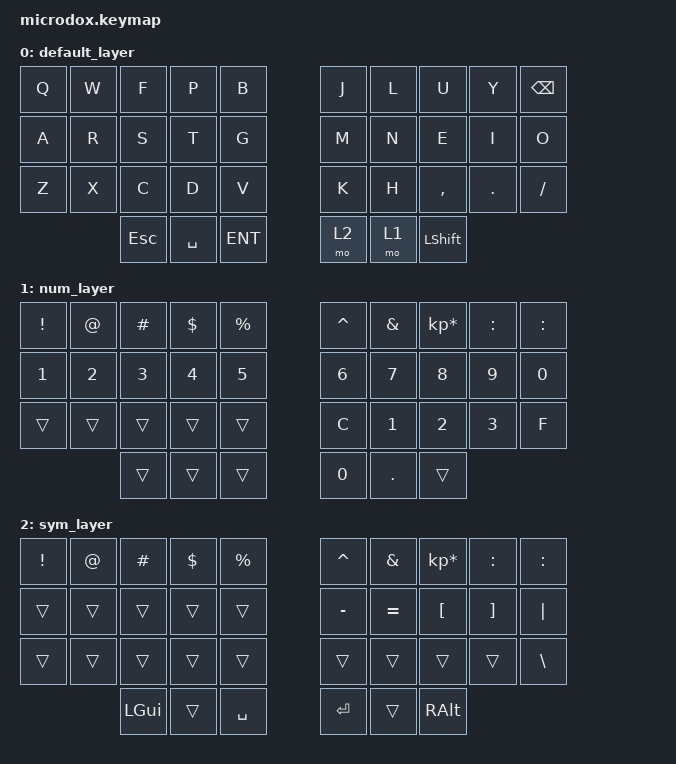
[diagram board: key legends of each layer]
/*
 * Copyright (c) 2020 The ZMK Contributors
 *
 * SPDX-License-Identifier: MIT
 */

#include <behaviors.dtsi>
#include <dt-bindings/zmk/keys.h>
#include <dt-bindings/zmk/bt.h>

/ {
        keymap {
                compatible = "zmk,keymap";

                default_layer {
                        bindings = <
   &kp Q &kp W &kp F &kp P &kp B   &kp J &kp L  &kp U     &kp Y   &kp BSPC
   &kp A &kp R &kp S &kp T &kp G   &kp M &kp N  &kp E     &kp I   &kp O
   &kp Z &kp X &kp C &kp D &kp V   &kp K &kp H  &kp COMMA &kp DOT &kp FSLH
          &kp ESC &kp SPACE &kp ENT &mo 2 &mo 1 &kp LSHFT
                        >;
                };


                num_layer {
                        bindings = <
   &kp EXCL  &kp AT    &kp HASH  &kp DLLR  &kp PRCNT   &kp CARET &kp AMPS  &kp KP_MULTIPLY &kp COLON &kp COLN
   &kp N1 &kp N2 &kp N3 &kp N4 &kp N5    &kp N6  &kp N7  &kp N8 &kp N9 &kp N0
   &trans &trans &trans &trans &trans    &kp C  &kp N1  &kp N2 &kp N3 &kp F
                 &trans &trans &trans    &kp N0 &kp DOT &trans
                        >;
                };

                sym_layer {
                        bindings = <
   &kp EXCL  &kp AT    &kp HASH  &kp DLLR  &kp PRCNT   &kp CARET &kp AMPS  &kp KP_MULTIPLY &kp COLON &kp COLN
   &trans    &trans    &trans    &trans    &trans      &kp MINUS &kp EQUAL &kp LBKT        &kp RBKT &kp PIPE
   &trans    &trans    &trans    &trans    &trans      &trans    &trans    &trans          &trans   &kp BSLH
                       &kp LGUI  &trans    &kp SPACE   &kp RET   &trans    &kp RALT
                        >;
                };
        };
};
